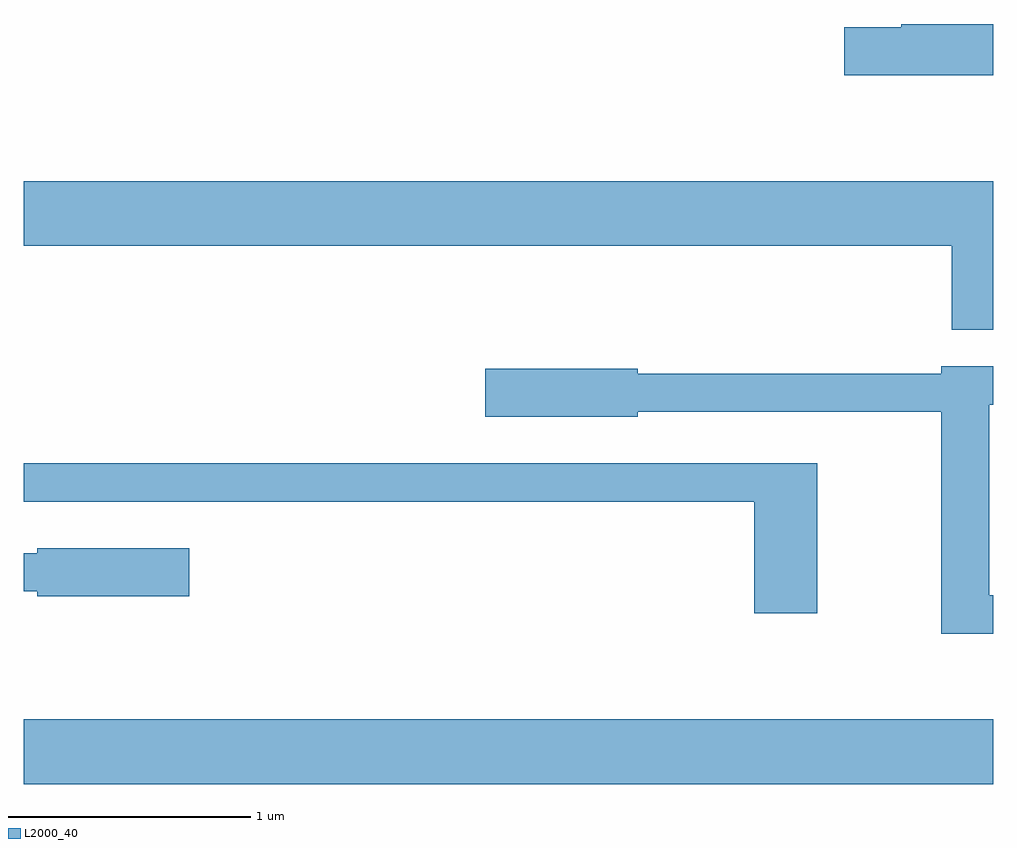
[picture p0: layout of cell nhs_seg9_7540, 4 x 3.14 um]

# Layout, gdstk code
import gdstk
lib = gdstk.Library(unit=1e-6, precision=1e-09)
def R(c, l, rs):  # rectangles x0, y0, x1, y1
    for r in rs: c.add(gdstk.rectangle(r[:2], r[2:], *l))
def P(c, l, *ps):  # polygons
    for p in ps: c.add(gdstk.Polygon(p, *l))
L2000_40 = (2000, 40)

nhs_seg9_7540 = lib.new_cell('nhs_seg9_7540')
R(nhs_seg9_7540, L2000_40, [(407.611,2067.296,411.611,2067.564)])
P(nhs_seg9_7540, L2000_40, [(411.611,2070.432),(411.231,2070.432),(411.231,2070.419),(410.996,2070.419),(410.996,2070.221),(411.611,2070.221)],
  [(411.611,2069.784),(407.611,2069.784),(407.611,2069.516),(411.441,2069.516),(411.441,2069.171),(411.611,2069.171)],
  [(411.611,2068.074),(411.594,2068.074),(411.594,2068.861),(411.611,2068.861),(411.611,2069.019),(411.396,2069.019),(411.396,2068.989),(410.144,2068.989),(410.144,2069.009),(409.516,2069.009),(409.516,2068.811),(410.144,2068.811),(410.144,2068.831),(411.396,2068.831),(411.396,2067.916),(411.611,2067.916)],
  [(410.884,2068.619),(407.611,2068.619),(407.611,2068.461),(410.626,2068.461),(410.626,2068.001),(410.884,2068.001)],
  [(408.294,2068.269),(407.666,2068.269),(407.666,2068.249),(407.611,2068.249),(407.611,2068.091),(407.666,2068.091),(407.666,2068.071),(408.294,2068.071)])

lib.write_gds('nhs_seg9_7540.gds')
